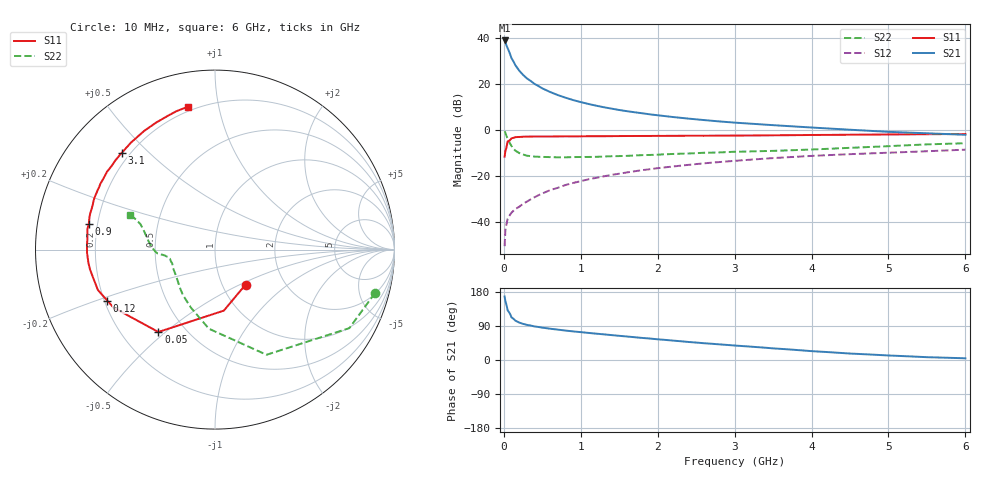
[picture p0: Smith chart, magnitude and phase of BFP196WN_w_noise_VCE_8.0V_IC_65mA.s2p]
! Infineon Technologies  Discrete & RF Semiconductors
! BFP196WN
! VCE =  8.0 V,  IC =  65 mA
! Common Emitter S-Parameters:  Jan 2017
# GHz  S  MA  R  50
!  f  S11  S21  S12  S22
! GHz  MAG  ANG  MAG  ANG  MAG  ANG  MAG  ANG
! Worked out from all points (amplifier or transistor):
!   77 points, 10 MHz to 6 GHz, reference 50 ohm
!   highest |S21| = 38.9 dB at 10 MHz (marker M1)
!   |S21| within 3 dB of that: start of sweep to 44.53 MHz
!   unconditionally stable (mu >= 1): 608.3 MHz to 2.607 GHz
!   at 130 MHz: K = 0.58, MSG = 32.3 dB, |S12| = -35.1 dB
!   at 2.2 GHz: K = 1.02, MAG = 10.0 dB, |S12| = -16.0 dB
!   at 6 GHz: K = 0.90, MSG = 3.2 dB, |S12| = -8.7 dB
!   lowest NFmin = 1.43 dB at 450 MHz
!   S11 on the Smith chart (normalised r, x): 10 MHz: 1.28, -0.54; 50 MHz: 0.36, -0.47; 120 MHz: 0.21, -0.21; 900 MHz: 0.17, +0.10; 3.1 GHz: 0.17, +0.42; 6 GHz: 0.18, +0.81
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0.01  0.259 -48.9  88.54 167.5  0.0029 77.7  0.9237 -15.2
0.02  0.3436 -81.8  80.65 155.2  0.0064 73.7  0.8671 -30.3
0.05  0.5569 -124.5  59.74 130.6  0.0115 52.9  0.6525 -63.9
0.1  0.6511 -150.2  36.25 112.3  0.0156 51.4  0.4418 -94.5
0.12  0.6639 -154.7  31.89 109.6  0.0168 50.8  0.4006 -100.7
0.15  0.6902 -161.0  25.54 103.8  0.0187 50.0  0.3502 -112.5
0.2  0.6972 -167.2  19.47 98.8  0.021 55.3  0.311 -124.8
0.25  0.7054 -171.1  15.72 95.3  0.0243 58.0  0.2887 -132.8
0.3  0.7091 -174.1  13.18 92.7  0.0272 59.7  0.2722 -139.5
0.4  0.7131 -178.5  9.974 88.5  0.0339 63.6  0.2599 -147.9
0.5  0.7138 178.1  7.99 85.4  0.0409 66.6  0.2561 -153.8
0.6  0.7134 175.4  6.68 82.6  0.0482 67.7  0.2535 -158.1
0.7  0.716 173.2  5.719 80.2  0.0542 68.8  0.2509 -161.0
0.9  0.7176 168.6  4.446 75.5  0.0692 69.3  0.2538 -164.7
1.1  0.7232 165.0  3.653 71.5  0.0831 69.4  0.2556 -167.7
1.3  0.7239 161.6  3.098 67.7  0.0967 68.5  0.2612 -169.1
1.5  0.729 158.2  2.698 63.8  0.1103 67.6  0.2669 -171.5
2.1  0.7365 148.7  1.982 53.0  0.1518 63.9  0.2919 -174.2
3.1  0.7487 133.8  1.396 36.8  0.2163 55.8  0.3345 -178.5
4.1  0.7715 119.6  1.095 22.2  0.2741 47.5  0.3773 171.8
5.1  0.7916 108.8  0.888 11.1  0.3207 39.9  0.4471 160.6
6  0.8095 100.9  0.777 4.5  0.3687 33.8  0.5085 158.0
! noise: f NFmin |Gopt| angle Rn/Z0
0.45  1.43  0.56  -176  0.05
0.9  1.55  0.58  -169  0.06
1.9  2.48  0.69  -147  0.18
2.4  3.26  0.7  -139  0.31
